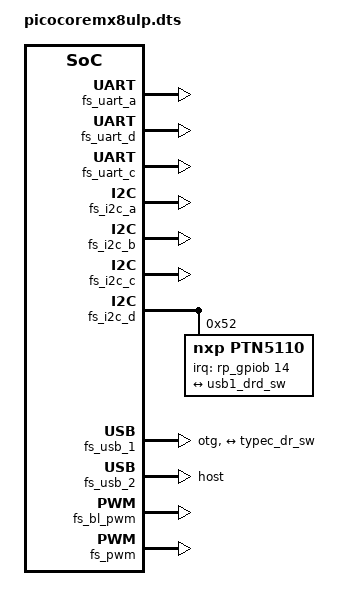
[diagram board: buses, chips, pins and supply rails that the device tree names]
// SPDX-License-Identifier: GPL-2.0
/*
* Copyright 2024 F&S Elektronik Systeme GmbH
*
* This program is free software; you can redistribute it and/or modify
* it under the terms of the GNU General Public License version 2 as
* published by the Free Software Foundation.
*
* This program is distributed in the hope that it will be useful,
* but WITHOUT ANY WARRANTY; without even the implied warranty of
* MERCHANTABILITY or FITNESS FOR A PARTICULAR PURPOSE.  See the
* GNU General Public License for more details.
*/

/dts-v1/;

/* Cortex-M is always supported */
#define CONFIG_PICOCOREMX8ULP_REV 110

#if CONFIG_PICOCOREMX8ULP_REV >= 120
/* Network */
/* WLAN/BLUETOOTH */
#define CONFIG_PICOCOREMX8ULP_WLAN
#define CONFIG_PICOCOREMX8ULP_BLUETOOTH

/* ETHERNET */
#define CONFIG_PICOCOREMX8ULP_ETH_PHY

/* AUDIO */
#define CONFIG_PICOCOREMX8ULP_AUDIO

/* I2C_INT */
#define CONFIG_PICOCOREMX8ULP_I2C_INT_RTD
// #define CONFIG_PICOCOREMX8ULP_I2C_INT_APD

/* GPIO */
#define CONFIG_PICOCOREMX8ULP_GPIO_EXP

/* Camera support */
#define CONFIG_PICOCOREMX8ULP_CSI

/* RTC Support */
#define CONFIG_PICOCOREMX8ULP_EXT_RTC
#define CONFIG_PICOCOREMX8ULP_INT_RTC

/* EEPROM */
#define CONFIG_PICOCOREMX8ULP_EEPROM

/* SD_A */
#if !defined(CONFIG_PICOCOREMX8ULP_WLAN)
#define CONFIG_PICOCOREMX8ULP_SD_A_SDCARD
// #define CONFIG_PICOCOREMX8ULP_SD_A_8BIT
#endif

#if !defined(CONFIG_PICOCOREMX8ULP_MIPI_DSI)
#define CONFIG_PICOCOREMX8ULP_LVDS
#endif

/* FLEXSPI */
/* TODO: there is no RPMSG LPSPI support yet */
#define CONFIG_PICOCOREMX8ULP_FLEXSPI_USED

#include "picocoremx8ulp.dtsi"
#else /* CONFIG_PICOCOREMX8ULP_REV */
/* TODO: Support of rev 110 or lower will be droped after next release */

/* Network*/
/* WLAN/BLUETOOTH */
#define CONFIG_PICOCOREMX8ULP_WLAN

/* AUDIO */
#define CONFIG_PICOCOREMX8ULP_AUDIO_APD
// #define CONFIG_PICOCOREMX8ULP_AUDIO_RTD

/*
 * SD_A - External SD port with Card Detect (CD) and Write Protect (WP)
 * On picocoremx8ulp SKIT: external port is Micro-SD card slot with CD but without WP
 */
#if !defined(CONFIG_PICOCOREMX8ULP_WLAN)
#define CONFIG_PICOCOREMX8ULP_SD_A
#define CONFIG_PICOCOREMX8ULP_SD_A_CD
#define CONFIG_PICOCOREMX8ULP_SD_A_WP
#endif
#include "picocoremx8ulp_rev110.dtsi"
#endif

#include <dt-bindings/usb/pd.h>

&fs_uart_a {
	/* DBG UART */
	status = "okay";
};

#if CONFIG_PICOCOREMX8ULP_REV >= 120
&fs_uart_b {
	status = "okay";
};
#else
&fs_uart_d {
	status = "okay";
};
#endif

&fs_uart_c {
	status = "okay";
};

&fs_i2c_a {
	status = "okay";
};

&fs_i2c_b {
	status = "okay";
};

&fs_i2c_c {
	status = "okay";
};

&fs_i2c_d {
	status = "okay";
	ptn5110: tcpc@52 {
		compatible = "nxp,ptn5110";
		reg = <0x52>;
		interrupt-parent = <&rp_gpiob>;
		interrupts = <14 IRQ_TYPE_LEVEL_LOW>;

		port {
			typec_dr_sw: endpoint {
				remote-endpoint = <&usb1_drd_sw>;
			};
		};

		usb_con: connector {
			compatible = "usb-c-connector";
			label = "USB-C";
			power-role = "dual";
			data-role = "dual";
			try-power-role = "sink";
			source-pdos = <PDO_FIXED(5000, 3000,
			PDO_FIXED_USB_COMM)>;
			sink-pdos = <PDO_FIXED(5000, 3000, PDO_FIXED_USB_COMM)
				     PDO_VAR(5000, 20000, 3000)>;
			op-sink-microwatt = <15000000>;
			self-powered;
		};
	};
};

&fs_usb_1 {
	dr_mode = "otg";
	hnp-disable;
	srp-disable;
	adp-disable;
	disable-over-current;
	usb-role-switch;
	status = "okay";

	port {
		usb1_drd_sw: endpoint {
			remote-endpoint = <&typec_dr_sw>;
		};
	};
};

&fs_usb_2 {
	dr_mode = "host";
	power-active-high;
	disable-over-current;
	status = "okay";
};

&fs_bl_pwm {
	status = "okay";
};

&fs_pwm {
	status = "okay";
};
